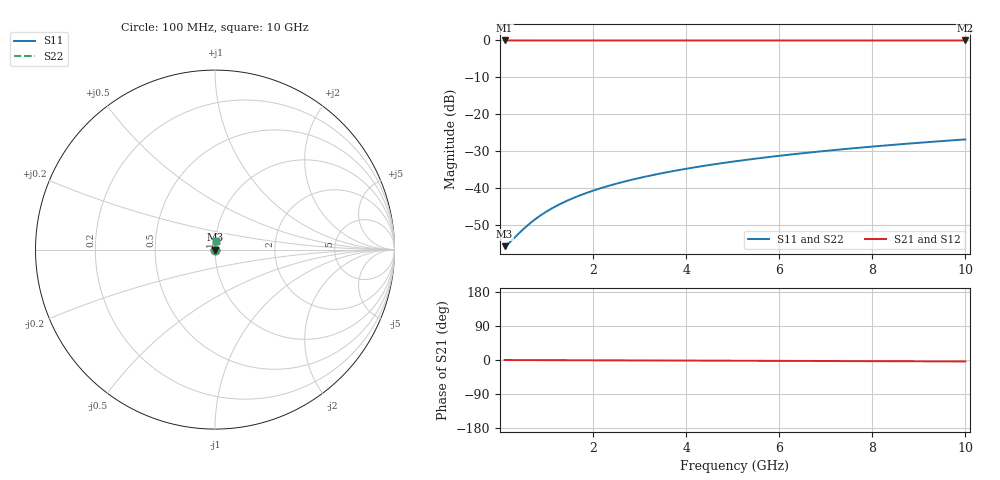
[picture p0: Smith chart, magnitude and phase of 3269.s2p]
# Hz S RI R 50.00
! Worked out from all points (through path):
!   100 points, 100 MHz to 10 GHz, reference 50 ohm
!   highest |S21| = -0.01 dB at 100 MHz (marker M1); lowest = 0.0 dB at 10 GHz (marker M2)
!   lowest |S11| = -55.6 dB at 100 MHz (marker M3), VSWR 1.00, Z = 50.2 + j0.0459 ohm
!   |S11| at or under -10 dB: start of sweep to end of sweep
!   |S22| runs from -55.6 to -26.8 dB; largest |S21 - S12| = 0
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1e8  0.0016 0.000458  0.9984 -0.000661  0.9984 -0.000661  0.0016 0.000458
2e8  0.00161 0.000915  0.9984 -0.00132  0.9984 -0.00132  0.00161 0.000915
5e8  0.00163 0.00229  0.9984 -0.0033  0.9984 -0.0033  0.00163 0.00229
6e8  0.00164 0.00275  0.9984 -0.00396  0.9984 -0.00396  0.00164 0.00275
7e8  0.00165 0.0032  0.9983 -0.00463  0.9983 -0.00463  0.00165 0.0032
9e8  0.00167 0.00412  0.9983 -0.00595  0.9983 -0.00595  0.00167 0.00412
1.1e9  0.00168 0.00503  0.9983 -0.00727  0.9983 -0.00727  0.00168 0.00503
1.3e9  0.0017 0.00595  0.9983 -0.00859  0.9983 -0.00859  0.0017 0.00595
1.5e9  0.00173 0.00687  0.9983 -0.00991  0.9983 -0.00991  0.00173 0.00687
1.8e9  0.00176 0.00824  0.9982 -0.0119  0.9982 -0.0119  0.00176 0.00824
2.1e9  0.00181 0.00961  0.9982 -0.0139  0.9982 -0.0139  0.00181 0.00961
2.5e9  0.00187 0.0114  0.9981 -0.0165  0.9981 -0.0165  0.00187 0.0114
2.9e9  0.00194 0.0133  0.998 -0.0192  0.998 -0.0192  0.00194 0.0133
3.4e9  0.00205 0.0156  0.9979 -0.0225  0.9979 -0.0225  0.00205 0.0156
3.8e9  0.00214 0.0174  0.9978 -0.0251  0.9978 -0.0251  0.00214 0.0174
4.2e9  0.00224 0.0192  0.9977 -0.0278  0.9977 -0.0278  0.00224 0.0192
5.1e9  0.00251 0.0233  0.9974 -0.0337  0.9974 -0.0337  0.00251 0.0233
5.9e9  0.00279 0.027  0.9971 -0.039  0.9971 -0.039  0.00279 0.027
6.7e9  0.0031 0.0306  0.9968 -0.0443  0.9968 -0.0443  0.0031 0.0306
7.5e9  0.00346 0.0343  0.9964 -0.0496  0.9964 -0.0496  0.00346 0.0343
8.4e9  0.00391 0.0384  0.9959 -0.0555  0.9959 -0.0555  0.00391 0.0384
1e10  0.00482 0.0457  0.995 -0.0661  0.995 -0.0661  0.00482 0.0457
